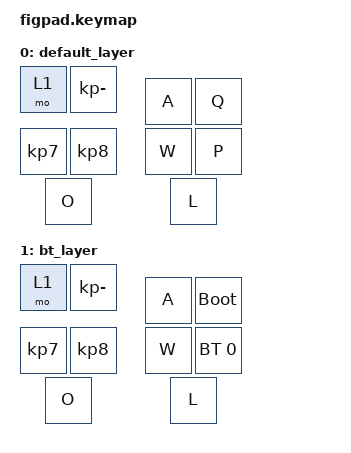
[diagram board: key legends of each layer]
#include <behaviors.dtsi>
#include <dt-bindings/zmk/keys.h>
#include <dt-bindings/zmk/bt.h>


/ {  
    keymap {
        compatible = "zmk,keymap";

        default_layer {
            bindings = <
                &mo 1         &kp KP_MINUS    &kp A    &kp Q
                &kp KP_N7     &kp KP_N8       &kp W    &kp P
                &kp O         &kp L
            >;
        }; 
        
        bt_layer {
            bindings = <
                &mo 1         &kp KP_MINUS    &kp A    &bootloader
                &kp KP_N7     &kp KP_N8       &kp W    &bt BT_SEL 0
                &kp O         &kp L  
            >;
        };
    };
};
